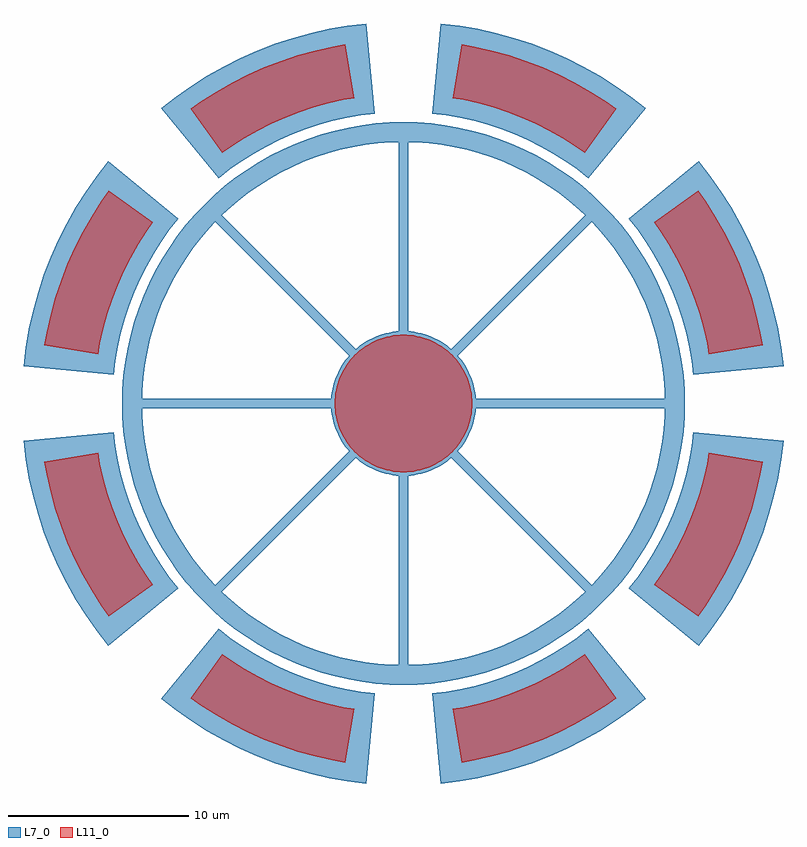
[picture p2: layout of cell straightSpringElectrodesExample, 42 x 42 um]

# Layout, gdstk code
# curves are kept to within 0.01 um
import gdstk
lib = gdstk.Library(unit=1e-6, precision=1e-09)
def P(c, l, *ps):  # polygons
    for p in ps: c.add(gdstk.Polygon(p, *l))
L7_0 = (7, 0)
L11_0 = (11, 0)

straightspringelectrodes = lib.new_cell('straightSpringElectrodesExample')
P(straightspringelectrodes, L7_0, [(2.068,-20.998),(1.578,-16.022),(2.362,-15.926),(3.141,-15.791),(3.912,-15.618),(4.674,-15.407),(5.424,-15.159),(6.161,-14.874),(6.884,-14.554),(7.589,-14.199),(8.277,-13.809),(8.945,-13.387),(9.591,-12.932),(10.214,-12.445),(13.386,-16.311),(12.569,-16.948),(11.723,-17.544),(10.848,-18.098),(9.946,-18.609),(9.021,-19.074),(8.075,-19.494),(7.108,-19.867),(6.125,-20.191),(5.127,-20.468),(4.116,-20.695),(3.096,-20.872)],
  [(-2.068,-20.998),(-3.096,-20.872),(-4.116,-20.695),(-5.127,-20.468),(-6.125,-20.191),(-7.108,-19.867),(-8.075,-19.494),(-9.021,-19.074),(-9.946,-18.609),(-10.848,-18.098),(-11.723,-17.544),(-12.569,-16.948),(-13.386,-16.311),(-10.214,-12.445),(-9.591,-12.932),(-8.945,-13.387),(-8.277,-13.809),(-7.589,-14.199),(-6.884,-14.554),(-6.161,-14.874),(-5.424,-15.159),(-4.674,-15.407),(-3.912,-15.618),(-3.141,-15.791),(-2.362,-15.926),(-1.578,-16.022)],
  [(10.214,-12.445),(10.214,-12.445),(10.214,-12.445)],
  [(-16.311,-13.386),(-16.948,-12.569),(-17.544,-11.723),(-18.098,-10.848),(-18.609,-9.946),(-19.074,-9.021),(-19.494,-8.075),(-19.867,-7.108),(-20.191,-6.125),(-20.468,-5.127),(-20.695,-4.116),(-20.872,-3.096),(-20.998,-2.068),(-16.022,-1.578),(-15.926,-2.362),(-15.791,-3.141),(-15.618,-3.912),(-15.407,-4.674),(-15.159,-5.424),(-14.874,-6.161),(-14.554,-6.884),(-14.199,-7.589),(-13.809,-8.277),(-13.387,-8.945),(-12.932,-9.591),(-12.445,-10.214)],
  [(16.311,-13.386),(12.445,-10.214),(12.932,-9.591),(13.387,-8.945),(13.809,-8.277),(14.199,-7.589),(14.554,-6.884),(14.874,-6.161),(15.159,-5.424),(15.407,-4.674),(15.618,-3.912),(15.791,-3.141),(15.926,-2.362),(16.022,-1.578),(20.998,-2.068),(20.872,-3.096),(20.695,-4.116),(20.468,-5.127),(20.191,-6.125),(19.867,-7.108),(19.494,-8.075),(19.074,-9.021),(18.609,-9.946),(18.098,-10.848),(17.544,-11.723),(16.948,-12.569)],
  [(16.022,1.578),(15.926,2.362),(15.791,3.141),(15.618,3.912),(15.407,4.674),(15.159,5.424),(14.874,6.161),(14.554,6.884),(14.199,7.589),(13.809,8.277),(13.387,8.945),(12.932,9.591),(12.445,10.214),(16.311,13.386),(16.948,12.569),(17.544,11.723),(18.098,10.848),(18.609,9.946),(19.074,9.021),(19.494,8.075),(19.867,7.108),(20.191,6.125),(20.468,5.127),(20.695,4.116),(20.872,3.096),(20.998,2.068)],
  [(-16.022,1.578),(-20.998,2.068),(-20.872,3.096),(-20.695,4.116),(-20.468,5.127),(-20.191,6.125),(-19.867,7.108),(-19.494,8.075),(-19.074,9.021),(-18.609,9.946),(-18.098,10.848),(-17.544,11.723),(-16.948,12.569),(-16.311,13.386),(-12.445,10.214),(-12.932,9.591),(-13.387,8.945),(-13.809,8.277),(-14.199,7.589),(-14.554,6.884),(-14.874,6.161),(-15.159,5.424),(-15.407,4.674),(-15.618,3.912),(-15.791,3.141),(-15.926,2.362)],
  [(0,-15.55),(-0.763,-15.531),(-1.524,-15.475),(-2.282,-15.382),(-3.034,-15.251),(-3.778,-15.084),(-4.514,-14.88),(-5.239,-14.641),(-5.75,-14.444),(0.25,-14.444),(0.709,-14.433),(1.416,-14.38),(2.12,-14.294),(2.819,-14.172),(3.511,-14.017),(4.195,-13.828),(4.868,-13.605),(5.53,-13.35),(6.178,-13.063),(6.812,-12.744),(7.429,-12.394),(8.028,-12.015),(8.608,-11.606),(9.167,-11.17),(9.704,-10.707),(10.037,-10.39),(9.683,-10.037),(10.39,-10.037),(10.707,-9.704),(11.17,-9.167),(11.606,-8.608),(12.015,-8.028),(12.394,-7.429),(12.744,-6.812),(13.063,-6.178),(13.35,-5.53),(13.605,-4.868),(13.828,-4.195),(14.017,-3.511),(14.172,-2.819),(14.294,-2.12),(14.38,-1.416),(14.433,-0.709),(14.444,-0.25),(3.991,-0.25),(3.957,-0.587),(3.88,-0.972),(3.696,-1.531),(3.431,-2.056),(3.213,-2.383),(2.999,-2.645),(10.39,-10.037),(9.683,-10.037),(2.645,-2.999),(2.383,-3.213),(2.056,-3.431),(1.531,-3.696),(0.972,-3.88),(0.587,-3.957),(0.25,-3.991),(0.25,-14.444),(-0.25,-14.444),(-0.25,-3.991),(-0.587,-3.957),(-0.972,-3.88),(-1.531,-3.696),(-2.056,-3.431),(-2.383,-3.213),(-2.645,-2.999),(-10.037,-10.39),(-9.704,-10.707),(-9.167,-11.17),(-8.608,-11.606),(-8.028,-12.015),(-7.429,-12.394),(-6.812,-12.744),(-6.178,-13.063),(-5.53,-13.35),(-4.868,-13.605),(-4.195,-13.828),(-3.511,-14.017),(-2.819,-14.172),(-2.12,-14.294),(-1.416,-14.38),(-0.709,-14.433),(-0.25,-14.444),(-5.75,-14.444),(-6.648,-14.057),(-7.33,-13.714),(-7.994,-13.338),(-8.639,-12.929),(-9.263,-12.49),(-9.865,-12.02),(-10.443,-11.522),(-10.996,-10.996),(-11.522,-10.443),(-11.872,-10.037),(-10.39,-10.037),(-2.999,-2.645),(-3.213,-2.383),(-3.431,-2.056),(-3.696,-1.531),(-3.88,-0.972),(-3.957,-0.587),(-3.991,-0.25),(-14.444,-0.25),(-14.433,-0.709),(-14.38,-1.416),(-14.294,-2.12),(-14.172,-2.819),(-14.017,-3.511),(-13.828,-4.195),(-13.605,-4.868),(-13.35,-5.53),(-13.063,-6.178),(-12.744,-6.812),(-12.394,-7.429),(-12.015,-8.028),(-11.606,-8.608),(-11.17,-9.167),(-10.707,-9.704),(-10.39,-10.037),(-11.872,-10.037),(-12.49,-9.263),(-12.929,-8.639),(-13.338,-7.994),(-13.714,-7.33),(-14.057,-6.648),(-14.366,-5.951),(-14.641,-5.239),(-14.88,-4.514),(-15.084,-3.778),(-15.251,-3.034),(-15.382,-2.282),(-15.475,-1.524),(-15.531,-0.763),(-15.55,0),(-15.544,0.25),(14.444,0.25),(14.433,0.709),(14.38,1.416),(14.294,2.12),(14.172,2.819),(14.017,3.511),(13.828,4.195),(13.605,4.868),(13.35,5.53),(13.063,6.178),(12.744,6.812),(12.394,7.429),(12.015,8.028),(11.606,8.608),(11.17,9.167),(10.707,9.704),(10.39,10.037),(2.999,2.645),(3.213,2.383),(3.431,2.056),(3.696,1.531),(3.88,0.972),(3.957,0.587),(3.991,0.25),(-3.991,0.25),(-3.957,0.587),(-3.88,0.972),(-3.696,1.531),(-3.431,2.056),(-3.213,2.383),(-2.999,2.645),(-3.353,2.999),(2.645,2.999),(10.037,10.39),(9.704,10.707),(9.167,11.17),(8.608,11.606),(8.028,12.015),(7.429,12.394),(6.812,12.744),(6.178,13.063),(5.53,13.35),(4.868,13.605),(4.195,13.828),(3.511,14.017),(2.819,14.172),(2.12,14.294),(1.416,14.38),(0.709,14.433),(0.25,14.444),(0.25,3.991),(0.587,3.957),(0.972,3.88),(1.531,3.696),(2.056,3.431),(2.383,3.213),(2.645,2.999),(-2.645,2.999),(-2.383,3.213),(-2.056,3.431),(-1.531,3.696),(-0.972,3.88),(-0.587,3.957),(-0.25,3.991),(-0.25,14.444),(-0.709,14.433),(-1.416,14.38),(-2.12,14.294),(-2.819,14.172),(-3.511,14.017),(-4.195,13.828),(-4.868,13.605),(-5.53,13.35),(-6.178,13.063),(-6.812,12.744),(-7.429,12.394),(-8.028,12.015),(-8.608,11.606),(-9.167,11.17),(-9.704,10.707),(-10.037,10.39),(-2.645,2.999),(-3.353,2.999),(-10.39,10.037),(-10.707,9.704),(-11.17,9.167),(-11.606,8.608),(-12.015,8.028),(-12.394,7.429),(-12.744,6.812),(-13.063,6.178),(-13.35,5.53),(-13.605,4.868),(-13.828,4.195),(-14.017,3.511),(-14.172,2.819),(-14.294,2.12),(-14.38,1.416),(-14.433,0.709),(-14.444,0.25),(-15.544,0.25),(-15.531,0.763),(-15.475,1.524),(-15.382,2.282),(-15.251,3.034),(-15.084,3.778),(-14.88,4.514),(-14.641,5.239),(-14.366,5.951),(-14.057,6.648),(-13.714,7.33),(-13.338,7.994),(-12.929,8.639),(-12.49,9.263),(-12.02,9.865),(-11.522,10.443),(-10.996,10.996),(-10.443,11.522),(-9.865,12.02),(-9.263,12.49),(-8.639,12.929),(-7.994,13.338),(-7.33,13.714),(-6.648,14.057),(-5.951,14.366),(-5.239,14.641),(-4.514,14.88),(-3.778,15.084),(-3.034,15.251),(-2.282,15.382),(-1.524,15.475),(-0.763,15.531),(0,15.55),(0.763,15.531),(1.524,15.475),(2.282,15.382),(3.034,15.251),(3.778,15.084),(4.514,14.88),(5.239,14.641),(5.951,14.366),(6.648,14.057),(7.33,13.714),(7.994,13.338),(8.639,12.929),(9.263,12.49),(9.865,12.02),(10.443,11.522),(10.996,10.996),(11.522,10.443),(12.02,9.865),(12.49,9.263),(12.929,8.639),(13.338,7.994),(13.714,7.33),(14.057,6.648),(14.366,5.951),(14.641,5.239),(14.88,4.514),(15.084,3.778),(15.251,3.034),(15.382,2.282),(15.475,1.524),(15.531,0.763),(15.55,0),(15,0),(15.55,0),(15.531,-0.763),(15.475,-1.524),(15.382,-2.282),(15.251,-3.034),(15.084,-3.778),(14.88,-4.514),(14.641,-5.239),(14.366,-5.951),(14.057,-6.648),(13.714,-7.33),(13.338,-7.994),(12.929,-8.639),(12.49,-9.263),(12.02,-9.865),(11.522,-10.443),(10.996,-10.996),(10.443,-11.522),(9.865,-12.02),(9.263,-12.49),(8.639,-12.929),(7.994,-13.338),(7.33,-13.714),(6.648,-14.057),(5.951,-14.366),(5.239,-14.641),(4.514,-14.88),(3.778,-15.084),(3.034,-15.251),(2.282,-15.382),(1.524,-15.475),(0.763,-15.531)],
  [(10.214,12.445),(9.591,12.932),(8.945,13.387),(8.277,13.809),(7.589,14.199),(6.884,14.554),(6.161,14.874),(5.424,15.159),(4.674,15.407),(3.912,15.618),(3.141,15.791),(2.362,15.926),(1.578,16.022),(2.068,20.998),(3.096,20.872),(4.116,20.695),(5.127,20.468),(6.125,20.191),(7.108,19.867),(8.075,19.494),(9.021,19.074),(9.946,18.609),(10.848,18.098),(11.723,17.544),(12.569,16.948),(13.386,16.311)],
  [(-10.214,12.445),(-13.386,16.311),(-12.569,16.948),(-11.723,17.544),(-10.848,18.098),(-9.946,18.609),(-9.021,19.074),(-8.075,19.494),(-7.108,19.867),(-6.125,20.191),(-5.127,20.468),(-4.116,20.695),(-3.096,20.872),(-2.068,20.998),(-1.578,16.022),(-2.362,15.926),(-3.141,15.791),(-3.912,15.618),(-4.674,15.407),(-5.424,15.159),(-6.161,14.874),(-6.884,14.554),(-7.589,14.199),(-8.277,13.809),(-8.945,13.387),(-9.591,12.932)])
P(straightspringelectrodes, L11_0, [(3.207,-19.838),(2.729,-16.877),(3.336,-16.771),(4.155,-16.588),(4.964,-16.364),(5.761,-16.1),(6.544,-15.798),(7.311,-15.458),(8.061,-15.081),(8.791,-14.667),(9.5,-14.218),(10.004,-13.863),(11.76,-16.295),(11.167,-16.713),(10.333,-17.24),(9.475,-17.727),(8.594,-18.17),(7.692,-18.57),(6.771,-18.925),(5.835,-19.235),(4.884,-19.498),(3.921,-19.714)],
  [(-3.207,-19.838),(-3.921,-19.714),(-4.884,-19.498),(-5.835,-19.235),(-6.771,-18.925),(-7.692,-18.57),(-8.594,-18.17),(-9.475,-17.727),(-10.333,-17.24),(-11.167,-16.713),(-11.76,-16.295),(-10.004,-13.863),(-9.5,-14.218),(-8.791,-14.667),(-8.061,-15.081),(-7.311,-15.458),(-6.544,-15.798),(-5.761,-16.1),(-4.964,-16.364),(-4.155,-16.588),(-3.336,-16.771),(-2.729,-16.877)],
  [(16.295,-11.76),(13.863,-10.004),(14.218,-9.5),(14.667,-8.791),(15.081,-8.061),(15.458,-7.311),(15.798,-6.544),(16.1,-5.761),(16.364,-4.964),(16.588,-4.155),(16.771,-3.336),(16.877,-2.729),(19.838,-3.207),(19.714,-3.921),(19.498,-4.884),(19.235,-5.835),(18.925,-6.771),(18.57,-7.692),(18.17,-8.594),(17.727,-9.475),(17.24,-10.333),(16.713,-11.167)],
  [(-16.295,-11.76),(-16.713,-11.167),(-17.24,-10.333),(-17.727,-9.475),(-18.17,-8.594),(-18.57,-7.692),(-18.925,-6.771),(-19.235,-5.835),(-19.498,-4.884),(-19.714,-3.921),(-19.838,-3.207),(-16.877,-2.729),(-16.771,-3.336),(-16.588,-4.155),(-16.364,-4.964),(-16.1,-5.761),(-15.798,-6.544),(-15.458,-7.311),(-15.081,-8.061),(-14.667,-8.791),(-14.218,-9.5),(-13.863,-10.004)],
  [(0,-3.8),(-0.372,-3.782),(-0.741,-3.727),(-1.103,-3.636),(-1.454,-3.511),(-1.791,-3.351),(-2.111,-3.16),(-2.411,-2.937),(-2.687,-2.687),(-2.937,-2.411),(-3.16,-2.111),(-3.351,-1.791),(-3.511,-1.454),(-3.636,-1.103),(-3.727,-0.741),(-3.782,-0.372),(-3.8,0),(-3.782,0.372),(-3.727,0.741),(-3.636,1.103),(-3.511,1.454),(-3.351,1.791),(-3.16,2.111),(-2.937,2.411),(-2.687,2.687),(-2.411,2.937),(-2.111,3.16),(-1.791,3.351),(-1.454,3.511),(-1.103,3.636),(-0.741,3.727),(-0.372,3.782),(0,3.8),(0.372,3.782),(0.741,3.727),(1.103,3.636),(1.454,3.511),(1.791,3.351),(2.111,3.16),(2.411,2.937),(2.687,2.687),(2.937,2.411),(3.16,2.111),(3.351,1.791),(3.511,1.454),(3.636,1.103),(3.727,0.741),(3.782,0.372),(3.8,0),(3.782,-0.372),(3.727,-0.741),(3.636,-1.103),(3.511,-1.454),(3.351,-1.791),(3.16,-2.111),(2.937,-2.411),(2.687,-2.687),(2.411,-2.937),(2.111,-3.16),(1.791,-3.351),(1.454,-3.511),(1.103,-3.636),(0.741,-3.727),(0.372,-3.782)],
  [(16.877,2.729),(16.771,3.336),(16.588,4.155),(16.364,4.964),(16.1,5.761),(15.798,6.544),(15.458,7.311),(15.081,8.061),(14.667,8.791),(14.218,9.5),(13.863,10.004),(16.295,11.76),(16.713,11.167),(17.24,10.333),(17.727,9.475),(18.17,8.594),(18.57,7.692),(18.925,6.771),(19.235,5.835),(19.498,4.884),(19.714,3.921),(19.838,3.207)],
  [(-16.877,2.729),(-19.838,3.207),(-19.714,3.921),(-19.498,4.884),(-19.235,5.835),(-18.925,6.771),(-18.57,7.692),(-18.17,8.594),(-17.727,9.475),(-17.24,10.333),(-16.713,11.167),(-16.295,11.76),(-13.863,10.004),(-14.218,9.5),(-14.667,8.791),(-15.081,8.061),(-15.458,7.311),(-15.798,6.544),(-16.1,5.761),(-16.364,4.964),(-16.588,4.155),(-16.771,3.336)],
  [(-10.004,13.863),(-11.76,16.295),(-11.167,16.713),(-10.333,17.24),(-9.475,17.727),(-8.594,18.17),(-7.692,18.57),(-6.771,18.925),(-5.835,19.235),(-4.884,19.498),(-3.921,19.714),(-3.207,19.838),(-2.729,16.877),(-3.336,16.771),(-4.155,16.588),(-4.964,16.364),(-5.761,16.1),(-6.544,15.798),(-7.311,15.458),(-8.061,15.081),(-8.791,14.667),(-9.5,14.218)],
  [(10.004,13.863),(9.5,14.218),(8.791,14.667),(8.061,15.081),(7.311,15.458),(6.544,15.798),(5.761,16.1),(4.964,16.364),(4.155,16.588),(3.336,16.771),(2.729,16.877),(3.207,19.838),(3.921,19.714),(4.884,19.498),(5.835,19.235),(6.771,18.925),(7.692,18.57),(8.594,18.17),(9.475,17.727),(10.333,17.24),(11.167,16.713),(11.76,16.295)])

lib.write_gds('straightSpringElectrodesExample.gds')
